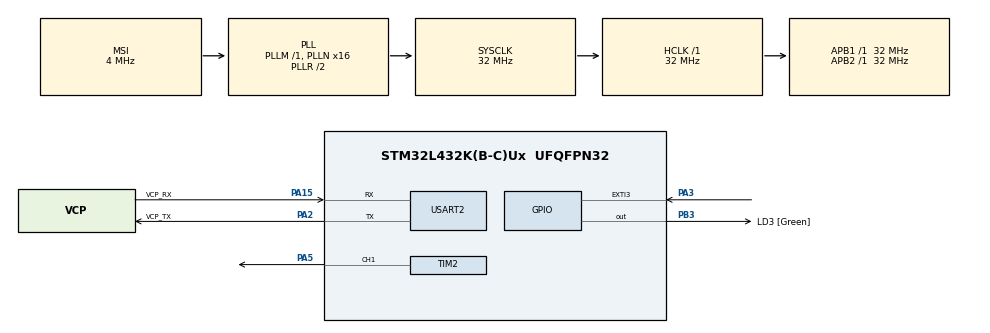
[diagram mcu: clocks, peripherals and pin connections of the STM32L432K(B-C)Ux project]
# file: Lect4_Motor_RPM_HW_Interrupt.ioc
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Mcu.Family=STM32L4
Mcu.Name=STM32L432K(B-C)Ux
Mcu.Package=UFQFPN32
NVIC.EXTI3_IRQn=true\:0\:0\:false\:false\:true\:true\:true
NVIC.PriorityGroup=NVIC_PRIORITYGROUP_4
NVIC.TIM2_IRQn=true\:0\:0\:false\:false\:true\:true\:true
PA0.GPIO_Label=MCO [High speed clock in]
PA0.Mode=HSE-External-Clock-Source-for-LittleOrca
PA0.Signal=RCC_CK_IN
PA13\ (JTMS-SWDIO).GPIO_Label=SWDIO
PA13\ (JTMS-SWDIO).Mode=Serial_Wire
PA13\ (JTMS-SWDIO).Signal=SYS_JTMS-SWDIO
PA14\ (JTCK-SWCLK).GPIO_Label=SWCLK
PA14\ (JTCK-SWCLK).Mode=Serial_Wire
PA14\ (JTCK-SWCLK).Signal=SYS_JTCK-SWCLK
PA15\ (JTDI).GPIO_Label=VCP_RX
PA15\ (JTDI).Mode=Asynchronous
PA15\ (JTDI).Signal=USART2_RX
PA2.GPIO_Label=VCP_TX
PA2.Mode=Asynchronous
PA2.Signal=USART2_TX
PA3.Signal=GPXTI3
PA5.Signal=S_TIM2_CH1
PB3\ (JTDO-TRACESWO).GPIO_Label=LD3 [Green]
PB3\ (JTDO-TRACESWO).Signal=GPIO_Output
PC14-OSC32_IN\ (PC14).Mode=LSE-External-Oscillator
PC14-OSC32_IN\ (PC14).Signal=RCC_OSC32_IN
PC15-OSC32_OUT\ (PC15).Mode=LSE-External-Oscillator
PC15-OSC32_OUT\ (PC15).Signal=RCC_OSC32_OUT
ProjectManager.HeapSize=0x200
ProjectManager.StackSize=0x400
ProjectManager.TargetToolchain=STM32CubeIDE
RCC.AHBFreq_Value=32000000
RCC.APB1Freq_Value=32000000
RCC.APB1TimFreq_Value=32000000
RCC.APB2Freq_Value=32000000
RCC.APB2TimFreq_Value=32000000
RCC.CortexFreq_Value=32000000
RCC.HCLKFreq_Value=32000000
RCC.HSE_VALUE=8000000
RCC.HSI16_VALUE=16000000
RCC.HSI48_VALUE=48000000
RCC.HSI_VALUE=16000000
RCC.MSI_VALUE=4000000
RCC.PLLMUL=RCC_PLLMUL_4
RCC.PLLN=16
RCC.SYSCLKFreq_VALUE=32000000
RCC.SYSCLKSource=RCC_SYSCLKSOURCE_PLLCLK
RCC.VCOOutputFreq_Value=64000000
SH.S_TIM2_CH1.0=TIM2_CH1,PWM Generation1 CH1
TIM2.Channel-PWM\ Generation1\ CH1=TIM_CHANNEL_1
TIM2.Period=99
TIM2.Prescaler=3199
TIM2.Pulse-PWM\ Generation1\ CH1=49
USART2.VirtualMode-Asynchronous=VM_ASYNC
board=NUCLEO-L432KC

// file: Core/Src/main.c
/* USER CODE BEGIN Header */
/**
  ******************************************************************************
  * @file           : main.c
  * @brief          : Main program body
  ******************************************************************************
  * @attention
  *
  * <h2><center>&copy; Copyright (c) 2020 STMicroelectronics.
  * All rights reserved.</center></h2>
  *
  * This software component is licensed by ST under BSD 3-Clause license,
  * the "License"; You may not use this file except in compliance with the
  * License. You may obtain a copy of the License at:
  *                        opensource.org/licenses/BSD-3-Clause
  *
  ******************************************************************************
  */
/* USER CODE END Header */
#include "main.h"

TIM_HandleTypeDef htim2;

UART_HandleTypeDef huart2;

/* USER CODE BEGIN PV */
volatile uint32_t A_cnt;
const uint32_t EncoderCntsperRev = 20;
/* USER CODE END PV */

void SystemClock_Config(void);
static void MX_GPIO_Init(void);
static void MX_USART2_UART_Init(void);
static void MX_TIM2_Init(void);

int main(void)
{

  /* MCU Configuration--------------------------------------------------------*/

  /* Reset of all peripherals, Initializes the Flash interface and the Systick. */
  HAL_Init();

  /* Configure the system clock */
  SystemClock_Config();

  /* Initialize all configured peripherals */
  MX_GPIO_Init();
  MX_USART2_UART_Init();
  MX_TIM2_Init();

  /* Infinite loop */
  /* USER CODE BEGIN WHILE */
  char buf[80];
  uint16_t delay_msec =5000;
  HAL_TIM_PWM_Start(&htim2,  TIM_CHANNEL_1);
  while (1)
  {
	  for(uint32_t i=0;i<=10;++i)
	  {
		  TIM2->CCR1 = 99*(10-i)/10;
		  HAL_Delay(2000);	// Let's give some time for the motor speed to change
		  A_cnt = 0; // Reset encoder A pulse count to 0 to restart RPM measurement
		  HAL_Delay(delay_msec);
		  sprintf(buf,"%d percent duty cycle, %4d cnts, %4d RPM\r\n", (10-i)*10, A_cnt,A_cnt*60*1000/EncoderCntsperRev/delay_msec);
		  HAL_UART_Transmit(&huart2, buf, strlen(buf), 100);
	  }
	  sprintf(buf,"\r\n");
	  HAL_UART_Transmit(&huart2, buf, strlen(buf), 100);
    /* USER CODE END WHILE */

  }
}

void SystemClock_Config(void)
{
  RCC_OscInitTypeDef RCC_OscInitStruct = {0};
  RCC_ClkInitTypeDef RCC_ClkInitStruct = {0};
  RCC_PeriphCLKInitTypeDef PeriphClkInit = {0};

  /** Configure LSE Drive Capability
  */
  HAL_PWR_EnableBkUpAccess();
  __HAL_RCC_LSEDRIVE_CONFIG(RCC_LSEDRIVE_LOW);
  /** Initializes the RCC Oscillators according to the specified parameters
  * in the RCC_OscInitTypeDef structure.
  */
  RCC_OscInitStruct.OscillatorType = RCC_OSCILLATORTYPE_LSE|RCC_OSCILLATORTYPE_MSI;
  RCC_OscInitStruct.LSEState = RCC_LSE_ON;
  RCC_OscInitStruct.MSIState = RCC_MSI_ON;
  RCC_OscInitStruct.MSICalibrationValue = 0;
  RCC_OscInitStruct.MSIClockRange = RCC_MSIRANGE_6;
  RCC_OscInitStruct.PLL.PLLState = RCC_PLL_ON;
  RCC_OscInitStruct.PLL.PLLSource = RCC_PLLSOURCE_MSI;
  RCC_OscInitStruct.PLL.PLLM = 1;
  RCC_OscInitStruct.PLL.PLLN = 16;
  RCC_OscInitStruct.PLL.PLLP = RCC_PLLP_DIV7;
  RCC_OscInitStruct.PLL.PLLQ = RCC_PLLQ_DIV2;
  RCC_OscInitStruct.PLL.PLLR = RCC_PLLR_DIV2;
  if (HAL_RCC_OscConfig(&RCC_OscInitStruct) != HAL_OK)
  {
    Error_Handler();
  }
  /** Initializes the CPU, AHB and APB buses clocks
  */
  RCC_ClkInitStruct.ClockType = RCC_CLOCKTYPE_HCLK|RCC_CLOCKTYPE_SYSCLK
                              |RCC_CLOCKTYPE_PCLK1|RCC_CLOCKTYPE_PCLK2;
  RCC_ClkInitStruct.SYSCLKSource = RCC_SYSCLKSOURCE_PLLCLK;
  RCC_ClkInitStruct.AHBCLKDivider = RCC_SYSCLK_DIV1;
  RCC_ClkInitStruct.APB1CLKDivider = RCC_HCLK_DIV1;
  RCC_ClkInitStruct.APB2CLKDivider = RCC_HCLK_DIV1;

  if (HAL_RCC_ClockConfig(&RCC_ClkInitStruct, FLASH_LATENCY_1) != HAL_OK)
  {
    Error_Handler();
  }
  PeriphClkInit.PeriphClockSelection = RCC_PERIPHCLK_USART2;
  PeriphClkInit.Usart2ClockSelection = RCC_USART2CLKSOURCE_PCLK1;
  if (HAL_RCCEx_PeriphCLKConfig(&PeriphClkInit) != HAL_OK)
  {
    Error_Handler();
  }
  /** Configure the main internal regulator output voltage
  */
  if (HAL_PWREx_ControlVoltageScaling(PWR_REGULATOR_VOLTAGE_SCALE1) != HAL_OK)
  {
    Error_Handler();
  }
  /** Enable MSI Auto calibration
  */
  HAL_RCCEx_EnableMSIPLLMode();
}

static void MX_TIM2_Init(void)
{

  TIM_MasterConfigTypeDef sMasterConfig = {0};
  TIM_OC_InitTypeDef sConfigOC = {0};

  htim2.Instance = TIM2;
  htim2.Init.Prescaler = 3199;
  htim2.Init.CounterMode = TIM_COUNTERMODE_UP;
  htim2.Init.Period = 99;
  htim2.Init.ClockDivision = TIM_CLOCKDIVISION_DIV1;
  htim2.Init.AutoReloadPreload = TIM_AUTORELOAD_PRELOAD_DISABLE;
  if (HAL_TIM_PWM_Init(&htim2) != HAL_OK)
  {
    Error_Handler();
  }
  sMasterConfig.MasterOutputTrigger = TIM_TRGO_RESET;
  sMasterConfig.MasterSlaveMode = TIM_MASTERSLAVEMODE_DISABLE;
  if (HAL_TIMEx_MasterConfigSynchronization(&htim2, &sMasterConfig) != HAL_OK)
  {
    Error_Handler();
  }
  sConfigOC.OCMode = TIM_OCMODE_PWM1;
  sConfigOC.Pulse = 49;
  sConfigOC.OCPolarity = TIM_OCPOLARITY_HIGH;
  sConfigOC.OCFastMode = TIM_OCFAST_DISABLE;
  if (HAL_TIM_PWM_ConfigChannel(&htim2, &sConfigOC, TIM_CHANNEL_1) != HAL_OK)
  {
    Error_Handler();
  }
  HAL_TIM_MspPostInit(&htim2);

}

static void MX_USART2_UART_Init(void)
{

  huart2.Instance = USART2;
  huart2.Init.BaudRate = 115200;
  huart2.Init.WordLength = UART_WORDLENGTH_8B;
  huart2.Init.StopBits = UART_STOPBITS_1;
  huart2.Init.Parity = UART_PARITY_NONE;
  huart2.Init.Mode = UART_MODE_TX_RX;
  huart2.Init.HwFlowCtl = UART_HWCONTROL_NONE;
  huart2.Init.OverSampling = UART_OVERSAMPLING_16;
  huart2.Init.OneBitSampling = UART_ONE_BIT_SAMPLE_DISABLE;
  huart2.AdvancedInit.AdvFeatureInit = UART_ADVFEATURE_NO_INIT;
  if (HAL_UART_Init(&huart2) != HAL_OK)
  {
    Error_Handler();
  }

}

static void MX_GPIO_Init(void)
{
  GPIO_InitTypeDef GPIO_InitStruct = {0};

  /* GPIO Ports Clock Enable */
  __HAL_RCC_GPIOC_CLK_ENABLE();
  __HAL_RCC_GPIOA_CLK_ENABLE();
  __HAL_RCC_GPIOB_CLK_ENABLE();

  /*Configure GPIO pin Output Level */
  HAL_GPIO_WritePin(LD3_GPIO_Port, LD3_Pin, GPIO_PIN_RESET);

  /*Configure GPIO pin : PA3 */
  GPIO_InitStruct.Pin = GPIO_PIN_3;
  GPIO_InitStruct.Mode = GPIO_MODE_IT_RISING;
  GPIO_InitStruct.Pull = GPIO_NOPULL;
  HAL_GPIO_Init(GPIOA, &GPIO_InitStruct);

  /*Configure GPIO pin : LD3_Pin */
  GPIO_InitStruct.Pin = LD3_Pin;
  GPIO_InitStruct.Mode = GPIO_MODE_OUTPUT_PP;
  GPIO_InitStruct.Pull = GPIO_NOPULL;
  GPIO_InitStruct.Speed = GPIO_SPEED_FREQ_LOW;
  HAL_GPIO_Init(LD3_GPIO_Port, &GPIO_InitStruct);

  /* EXTI interrupt init*/
  HAL_NVIC_SetPriority(EXTI3_IRQn, 0, 0);
  HAL_NVIC_EnableIRQ(EXTI3_IRQn);

}

/* USER CODE BEGIN 4 */
void HAL_GPIO_EXTI_Callback(uint16_t GPIO_Pin)
{
	if(GPIO_Pin == GPIO_PIN_3)
		A_cnt++;
		HAL_GPIO_TogglePin(LD3_GPIO_Port, LD3_Pin);
}

/* USER CODE END 4 */

void Error_Handler(void)
{
}

/************************ (C) COPYRIGHT STMicroelectronics *****END OF FILE****/
